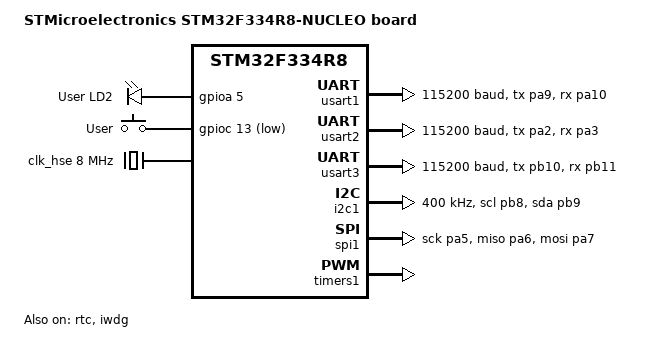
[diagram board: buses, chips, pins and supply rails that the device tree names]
/*
 * Copyright (c) 2017 Linaro Limited
 *
 * SPDX-License-Identifier: Apache-2.0
 */

/dts-v1/;
#include <st/f3/stm32f334X8.dtsi>
#include <st/f3/stm32f334r(6-8)tx-pinctrl.dtsi>
#include "arduino_r3_connector.dtsi"

/ {
	model = "STMicroelectronics STM32F334R8-NUCLEO board";
	compatible = "st,stm32f334r8-nucleo";

	chosen {
		zephyr,console = &usart2;
		zephyr,shell-uart = &usart2;
		zephyr,sram = &sram0;
		zephyr,flash = &flash0;
	};

	leds {
		compatible = "gpio-leds";
		green_led_2: led_2 {
			gpios = <&gpioa 5 GPIO_ACTIVE_HIGH>;
			label = "User LD2";
		};
	};

	gpio_keys {
		compatible = "gpio-keys";
		user_button: button {
			label = "User";
			gpios = <&gpioc 13 GPIO_ACTIVE_LOW>;
		};
	};

	aliases {
		led0 = &green_led_2;
		sw0 = &user_button;
		watchdog0 = &iwdg;
	};
};

&clk_lsi {
	status = "okay";
};

&clk_hse {
	hse-bypass;
	clock-frequency = <DT_FREQ_M(8)>; /* STLink 8MHz clock */
	status = "okay";
};

&pll {
	clocks = <&clk_hse>;
	prediv = <1>;
	mul = <9>;
	status = "okay";
};

&rcc {
	clocks = <&pll>;
	clock-frequency = <DT_FREQ_M(72)>;
	ahb-prescaler = <1>;
	apb1-prescaler = <2>;
	apb2-prescaler = <1>;
};

&usart1 {
	pinctrl-0 = <&usart1_tx_pa9 &usart1_rx_pa10>;
	pinctrl-names = "default";
	current-speed = <115200>;
	status = "okay";
};

&usart2 {
	pinctrl-0 = <&usart2_tx_pa2 &usart2_rx_pa3>;
	pinctrl-names = "default";
	current-speed = <115200>;
	status = "okay";
};

&usart3 {
	pinctrl-0 = <&usart3_tx_pb10 &usart3_rx_pb11>;
	pinctrl-names = "default";
	current-speed = <115200>;
};

&i2c1 {
	pinctrl-0 = <&i2c1_scl_pb8 &i2c1_sda_pb9>;
	pinctrl-names = "default";
	status = "okay";
	clock-frequency = <I2C_BITRATE_FAST>;
};

&spi1 {
	pinctrl-0 = <&spi1_sck_pa5 &spi1_miso_pa6 &spi1_mosi_pa7>;
	pinctrl-names = "default";
	cs-gpios = <&gpiob 6 (GPIO_ACTIVE_LOW | GPIO_PULL_UP)>;
	status = "okay";
};

&timers1 {
	st,prescaler = <10000>;
	status = "okay";

	pwm1: pwm {
		status = "okay";
		pinctrl-0 = <&tim1_ch1_pa8>;
		pinctrl-names = "default";
	};
};

&rtc {
	clocks = <&rcc STM32_CLOCK_BUS_APB1 0x10000000>,
		 <&rcc STM32_SRC_LSI RTC_SEL(2)>;
	status = "okay";
};

&iwdg {
	status = "okay";
};

&flash0 {

	partitions {
		compatible = "fixed-partitions";
		#address-cells = <1>;
		#size-cells = <1>;

		/* Set 6Kb of storage at the end of the 64Kb of flash */
		storage_partition: partition@e800 {
			label = "storage";
			reg = <0x0000e800 DT_SIZE_K(6)>;
		};
	};
};
